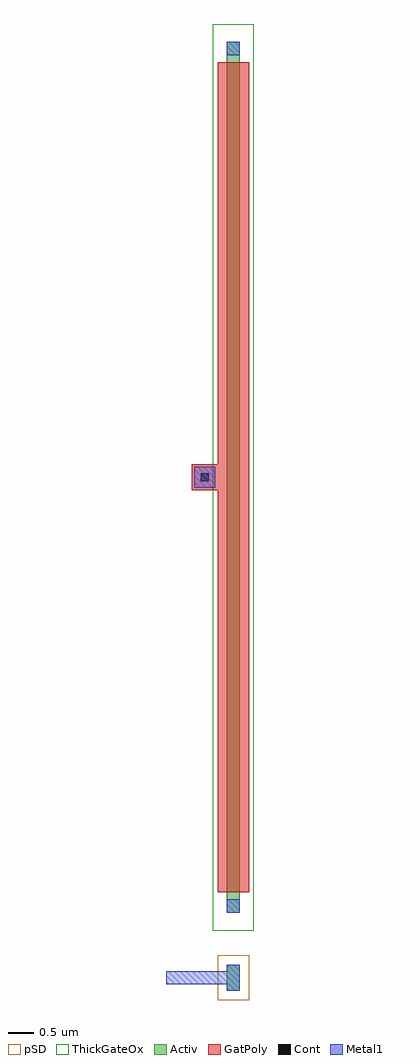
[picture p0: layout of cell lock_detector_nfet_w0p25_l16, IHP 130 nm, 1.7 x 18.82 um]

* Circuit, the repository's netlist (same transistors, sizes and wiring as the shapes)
* extracted by klt extract --deck sg13cmos5l

* cell lock_detector_nfet_w0p25_l16
* pin vsubs
.SUBCKT lock_detector_nfet_w0p25_l16 vsubs
* device instance $1 r0 *1 1.425,10.86 nfet
X$1 \$5 \$1 \$4 vsubs sg13_hv_nmos L=16U W=0.25U AS=0.1P AD=0.1P PS=1.3U PD=1.3U
.ENDS lock_detector_nfet_w0p25_l16

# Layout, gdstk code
import gdstk
lib = gdstk.Library(unit=1e-6, precision=1e-09)
def R(c, l, rs):  # rectangles x0, y0, x1, y1
    for r in rs: c.add(gdstk.rectangle(r[:2], r[2:], *l))
Activ = (1, 0)
GatPoly = (5, 0)
Cont = (6, 0)
Metal1 = (8, 0)
pSD = (14, 0)
ThickGateOx = (44, 0)

lock_detector_nfet_w0p25 = lib.new_cell('lock_detector_nfet_w0p25_l16')
R(lock_detector_nfet_w0p25, Activ, [(1.3,0.96,1.55,1.46), (1.3,2.46,1.55,19.26)])
R(lock_detector_nfet_w0p25, GatPoly, [(1.12,2.86,1.73,18.86), (0.62,10.61,1.12,11.11)])
R(lock_detector_nfet_w0p25, Cont, [(0.79,10.78,0.95,10.94)])
R(lock_detector_nfet_w0p25, Metal1, [(1.3,0.96,1.55,1.46), (0.125,1.085,1.3,1.335), (1.3,2.46,1.55,2.72), (0.67,10.66,1.07,11.06), (1.3,19,1.55,19.26)])
R(lock_detector_nfet_w0p25, pSD, [(1.12,0.78,1.73,1.64)])
R(lock_detector_nfet_w0p25, ThickGateOx, [(1.03,2.12,1.82,19.6)])

lib.write_gds('lock_detector_nfet_w0p25_l16.gds')
